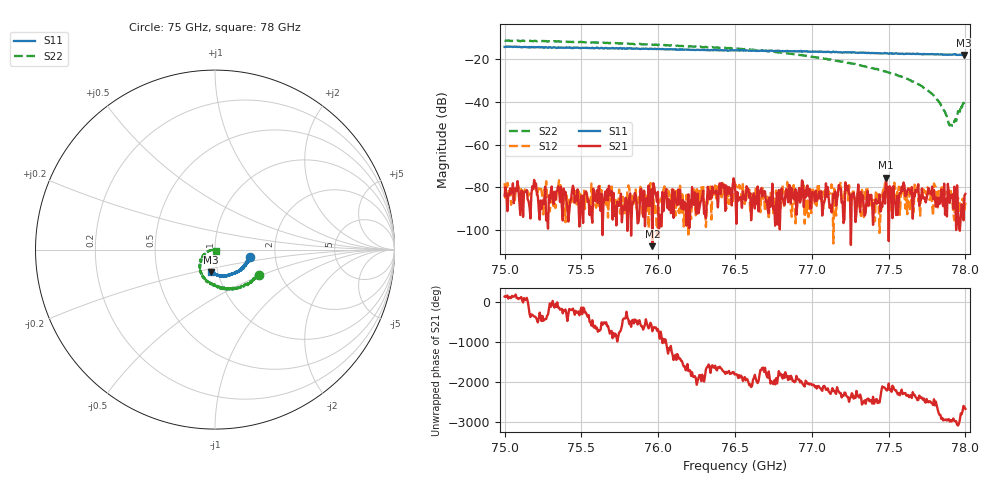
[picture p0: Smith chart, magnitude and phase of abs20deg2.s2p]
# Hz S MA R 50
! CMT, C4420, 21421029, 25.1.2/3
! Date: 8/7/2025 1:32:19 PM
! Data: Format (Calibration Info)
! Freq	S33:Mag/Ang(F2)	S43:Mag/Ang(F2)	S34:Mag/Ang(F2)	S44:Mag/Ang(F2)
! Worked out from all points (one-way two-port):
!   500 points, 75 GHz to 78 GHz, reference 50 ohm
!   highest |S21| = -75.51 dB at 77.483 GHz (marker M1); lowest = -107.8 dB at 75.962 GHz (marker M2)
!   lowest |S11| = -17.9 dB at 77.988 GHz (marker M3), VSWR 1.29, Z = 46.4 - j11.8 ohm
!   |S11| at or under -10 dB: start of sweep to end of sweep
!   |S22| runs from -51.3 to -11.0 dB; largest |S21 - S12| = 0.00019
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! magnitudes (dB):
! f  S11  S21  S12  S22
! 75 GHz  -14.1  -84.0  -78.2  -11.1
! 75.042 GHz  -14.0  -83.1  -88.3  -11.2
! 75.192 GHz  -14.3  -76.6  -79.5  -11.2
! 75.505 GHz  -14.5  -84.5  -89.5  -11.8
! 75.962 GHz  -15.1  -107.8  -83.2  -13.0
! 76.004 GHz  -15.1  -103.5  -89.2  -13.1
! 76.467 GHz  -15.7  -83.2  -80.6  -14.6
! 76.503 GHz  -15.7  -82.9  -78.8  -14.9
! 76.515 GHz  -15.8  -82.3  -80.9  -14.9
! 76.918 GHz  -16.0  -80.4  -82.9  -17.9
! 76.942 GHz  -16.3  -77.6  -79.1  -18.1
! 77.002 GHz  -16.3  -82.3  -82.0  -18.7
! 77.483 GHz  -17.1  -75.5  -85.3  -25.6
! 77.501 GHz  -17.3  -105.4  -83.4  -26.2
! 77.633 GHz  -17.3  -81.2  -79.5  -29.5
! 77.76 GHz  -17.5  -80.4  -80.8  -34.8
! 77.838 GHz  -17.6  -85.0  -82.8  -40.9
! 77.892 GHz  -17.7  -82.7  -81.3  -50.3
! 77.91 GHz  -17.8  -84.7  -87.0  -50.8
! 77.928 GHz  -17.6  -79.8  -95.5  -48.9
! 77.988 GHz  -17.9  -95.6  -86.9  -40.4
! 78 GHz  -17.9  -83.2  -87.3  -40.2
